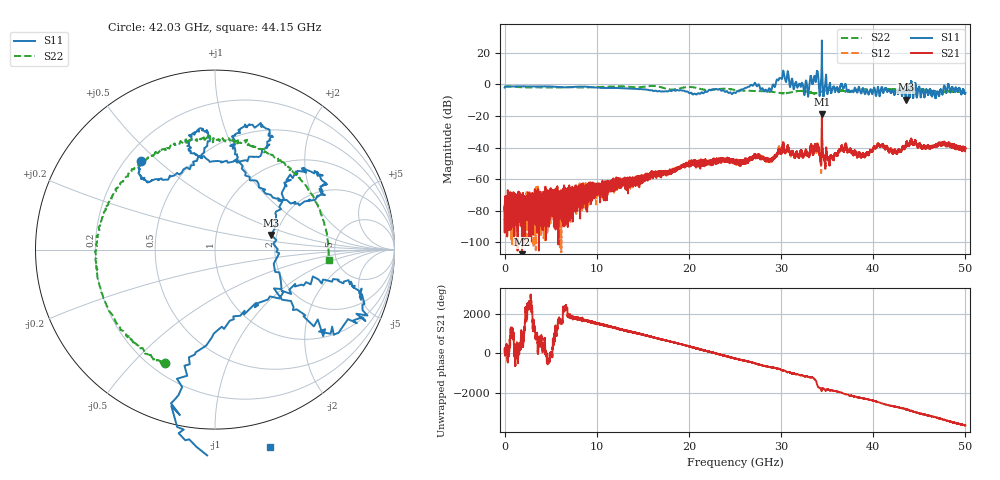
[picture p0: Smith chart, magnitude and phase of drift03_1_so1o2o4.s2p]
!Created with skrf (http://scikit-rf.org).
# Hz S RI R 50.0
!freq ReS11 ImS11 ReS21 ImS21 ReS12 ImS12 ReS22 ImS22
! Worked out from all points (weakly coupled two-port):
!   10000 points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, 5.3 MHz to 50 GHz, reference 50 ohm
!   highest |S21| = -18.88 dB at 34.43 GHz (marker M1); lowest = -125.6 dB at 1.89 GHz (marker M2)
!   lowest |S11| = -9.8 dB at 43.52 GHz (marker M3), VSWR 1.96, Z = 93.5 + j17.1 ohm
!   |S11| at or under -10 dB: nowhere
!   |S22| runs from -5.8 to -1.1 dB; largest |S21 - S12| = 0.031
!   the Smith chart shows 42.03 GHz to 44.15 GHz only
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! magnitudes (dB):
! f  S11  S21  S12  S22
! 5.3 MHz  -2.1  -78.9  -76.1  -1.3
! 1.89 GHz  -1.3  -125.6  -78.2  -1.9
! 6.005 GHz  -1.8  -74.2  -87.7  -2.0
! 8.34 GHz  -1.5  -70.0  -68.6  -2.1
! 16.67 GHz  -4.4  -56.3  -56.6  -1.5
! 20.42 GHz  -6.5  -49.5  -49.7  -1.9
! 25.01 GHz  -5.5  -48.3  -49.0  -3.6
! 27.02 GHz  -0.4  -46.0  -46.2  -4.2
! 28.72 GHz  -2.5  -48.4  -47.3  -4.5
! 30.14 GHz  4.2  -40.8  -41.0  -5.6
! 32.74 GHz  2.0  -42.0  -42.3  -4.6
! 33.34 GHz  2.2  -39.2  -40.1  -5.5
! 33.82 GHz  3.8  -41.8  -41.9  -5.7
! 34.43 GHz  27.7  -18.9  -20.0  -4.6
! 35.31 GHz  0.8  -47.4  -46.5  -3.4
! 36.83 GHz  -1.8  -42.6  -42.6  -4.3
! 38.84 GHz  -3.1  -44.2  -44.4  -3.2
! 40.59 GHz  -3.7  -38.3  -38.2  -4.0
! 41.67 GHz  -3.6  -42.1  -42.2  -3.4
! 42.74 GHz  -5.7  -41.2  -41.7  -3.7
! 43.52 GHz  -9.8  -38.7  -38.4  -4.0
! 50 GHz  -5.4  -40.3  -41.0  -4.6
